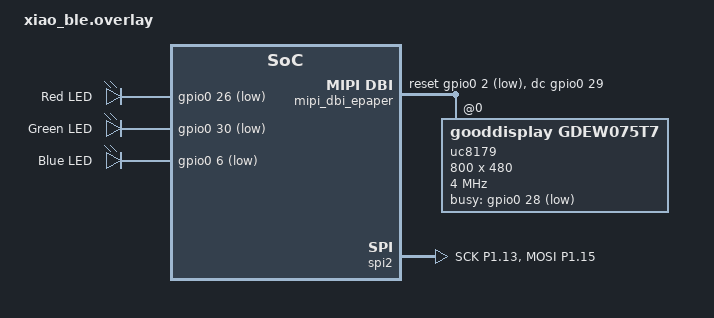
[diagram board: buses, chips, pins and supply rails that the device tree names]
/*
 * Copyright (c) 2026
 * SPDX-License-Identifier: Apache-2.0
 * 
 * Device tree overlay for Seeed Studio XIAO nRF52840
 * with "ePaper Driver Board for XIAO V2"
 * and 7.5" e-Paper (GDEW075T7 / WFT0583CZ61)
 * 
 * Pin mapping from Seeed documentation:
 * https://wiki.seeedstudio.com/xiao_eink_expansion_board_v2/
 * 
 * - D0 (P0.02) = RESET
 * - D1 (P0.03) = CS
 * - D2 (P0.28) = BUSY
 * - D3 (P0.29) = DC
 * - D8 (P1.13) = SCK  (SPI2)
 * - D10 (P1.15) = MOSI (SPI2)
 */

&pinctrl {
	spi2_default: spi2_default {
		group1 {
			psels = <NRF_PSEL(SPIM_SCK, 1, 13)>,
			        <NRF_PSEL(SPIM_MOSI, 1, 15)>;
		};
	};

	spi2_sleep: spi2_sleep {
		group1 {
			psels = <NRF_PSEL(SPIM_SCK, 1, 13)>,
			        <NRF_PSEL(SPIM_MOSI, 1, 15)>;
			low-power-enable;
		};
	};
};

&spi2 {
	compatible = "nordic,nrf-spim";
	status = "okay";
	pinctrl-0 = <&spi2_default>;
	pinctrl-1 = <&spi2_sleep>;
	pinctrl-names = "default", "sleep";
	cs-gpios = <&gpio0 3 GPIO_ACTIVE_LOW>;  /* D1 = CS */
};

/ {
	mipi_dbi_epaper {
		compatible = "zephyr,mipi-dbi-spi";
		spi-dev = <&spi2>;
		dc-gpios = <&gpio0 29 GPIO_ACTIVE_HIGH>;      /* D3 = DC */
		reset-gpios = <&gpio0 2 GPIO_ACTIVE_LOW>;     /* D0 = RESET */
		write-only;
		#address-cells = <1>;
		#size-cells = <0>;

		uc8179: uc8179@0 {
			compatible = "gooddisplay,gdew075t7", "ultrachip,uc8179";
			reg = <0>;
			mipi-max-frequency = <4000000>;
			width = <800>;
			height = <480>;
			busy-gpios = <&gpio0 28 GPIO_ACTIVE_LOW>;     /* D2 = BUSY */
			
			/* Configuration from Waveshare reference driver */
			softstart = [17 17 17 17];
			
			full {
				pwr = [07 07 3f 3f];
				cdi = <07>;
				tcon = <0x22>;
			};
		};
	};
};

/ {
	chosen {
		zephyr,display = &uc8179;
	};

	leds {
		compatible = "gpio-leds";
		led_red: led_0 {
			gpios = <&gpio0 26 GPIO_ACTIVE_LOW>;
			label = "Red LED";
		};
		led_green: led_1 {
			gpios = <&gpio0 30 GPIO_ACTIVE_LOW>;
			label = "Green LED";
		};
		led_blue: led_2 {
			gpios = <&gpio0 6 GPIO_ACTIVE_LOW>;
			label = "Blue LED";
		};
	};

	aliases {
		led0 = &led_red;
		led1 = &led_green;
		led2 = &led_blue;
	};
};
